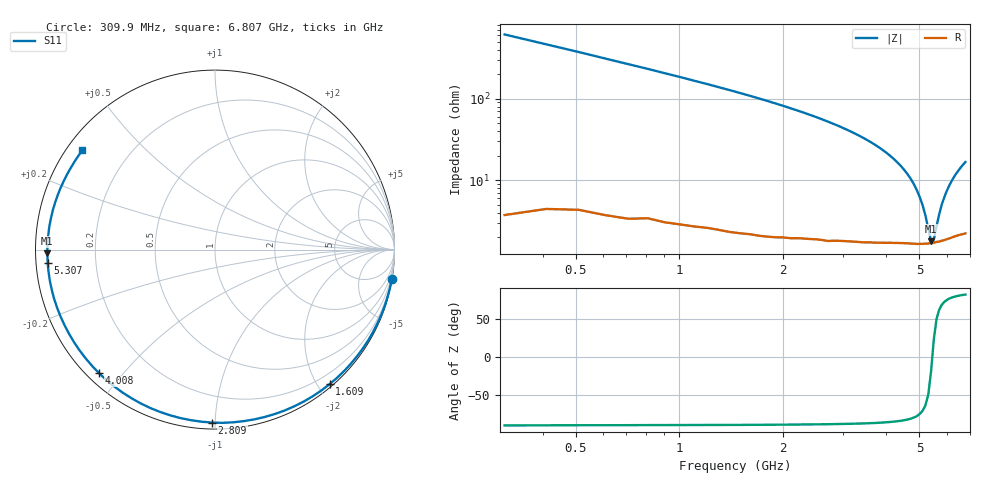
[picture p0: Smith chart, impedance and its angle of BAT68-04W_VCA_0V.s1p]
! Infineon Technologies  Discrete & RF Semiconductors
! BAT68-04W
! VCA = 0 V
! One-Port S-Parameters
# Hz  S  MA  R  50
!f  S11
!Hz  Mag  Ang
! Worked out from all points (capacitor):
!   66 points, 309.9 MHz to 6.807 GHz, reference 50 ohm
!   read as one part to ground: C = 833 fF near 309.9 MHz
!   lowest |Z| = 1.79 ohm at 5.407 GHz (marker M1)
!   series resonance near 5.451 GHz, so ESL is about 1 nH
!   S11 on the Smith chart (normalised r, x): 309.9 MHz: 0, -12; 1.609 GHz: 0.04, -2.16; 2.809 GHz: 0.04, -0.98; 4.008 GHz: 0.03, -0.43; 5.307 GHz: 0.03, -0.04; 6.807 GHz: 0.04, +0.33
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3.0985e8  0.999 -9.3
6.097e8  0.9962 -18.3
8.096e8  0.994 -24.3
1.2094e9  0.9897 -36.8
1.6092e9  0.9848 -49.6
1.8091e9  0.9821 -56.3
2.009e9  0.9785 -63.0
2.2089e9  0.9748 -69.9
2.4088e9  0.9711 -76.9
2.6087e9  0.9675 -83.9
2.8086e9  0.9638 -91.0
3.0085e9  0.9598 -98.1
3.2084e9  0.9564 -105.2
3.4083e9  0.9533 -112.2
3.6082e9  0.9499 -119.3
4.008e9  0.9442 -133.2
4.2079e9  0.9416 -140.0
4.4078e9  0.9396 -146.6
4.6077e9  0.9382 -153.2
4.8076e9  0.9374 -159.7
5.0075e9  0.9367 -166.2
5.2074e9  0.9356 -172.5
5.30735e9  0.9353 -175.6
5.4073e9  0.9344 -178.7
5.70715e9  0.932 172.3
6.007e9  0.9286 163.7
6.4068e9  0.9246 153.1
6.8066e9  0.9228 143.2
